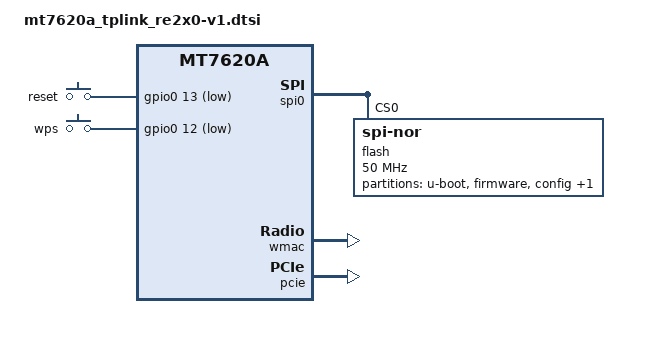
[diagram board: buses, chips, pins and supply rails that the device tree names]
// SPDX-License-Identifier: GPL-2.0-or-later OR MIT

#include "mt7620a.dtsi"

#include <dt-bindings/gpio/gpio.h>
#include <dt-bindings/input/input.h>
#include <dt-bindings/mtd/partitions/uimage.h>

/ {
	aliases {
		label-mac-device = &ethernet;
	};

	chosen {
		bootargs = "console=ttyS0,57600n8";
	};

	keys: keys {
		compatible = "gpio-keys";

		reset {
			label = "reset";
			gpios = <&gpio0 13 GPIO_ACTIVE_LOW>;
			linux,code = <KEY_RESTART>;
		};

		wps {
			label = "wps";
			gpios = <&gpio0 12 GPIO_ACTIVE_LOW>;
			linux,code = <KEY_WPS_BUTTON>;
		};
	};
};

&spi0 {
	status = "okay";

	flash@0 {
		compatible = "jedec,spi-nor";
		reg = <0>;
		spi-max-frequency = <50000000>;

		partitions {
			compatible = "fixed-partitions";
			#address-cells = <1>;
			#size-cells = <1>;

			partition@0 {
				label = "u-boot";
				reg = <0x0 0x20000>;
				read-only;

				nvmem-layout {
					compatible = "fixed-layout";
					#address-cells = <1>;
					#size-cells = <1>;

					macaddr_uboot_1fc00: macaddr@1fc00 {
						compatible = "mac-base";
						reg = <0x1fc00 0x6>;
						#nvmem-cell-cells = <1>;
					};
				};
			};

			partition@20000 {
				compatible = "openwrt,uimage", "denx,uimage";
				label = "firmware";
				reg = <0x20000 0x7c0000>;
				openwrt,offset = <0x1000>;
				openwrt,ih-magic = <IH_MAGIC_OKLI>;
			};

			partition@7e0000 {
				label = "config";
				reg = <0x7e0000 0x10000>;
				read-only;
			};

			partition@7f0000 {
				label = "radio";
				reg = <0x7f0000 0x10000>;
				read-only;

				nvmem-layout {
					compatible = "fixed-layout";
					#address-cells = <1>;
					#size-cells = <1>;

					eeprom_radio_0: eeprom@0 {
						reg = <0x0 0x200>;
					};

					eeprom_radio_8000: eeprom@8000 {
						reg = <0x8000 0x200>;
					};
				};
			};
		};
	};
};

&ethernet {
	nvmem-cells = <&macaddr_uboot_1fc00 0>;
	nvmem-cell-names = "mac-address";
};

&wmac {
	nvmem-cells = <&eeprom_radio_0>, <&macaddr_uboot_1fc00 0>;
	nvmem-cell-names = "eeprom", "mac-address";
};

&pcie {
	status = "okay";
};

&pcie0 {
	mt76@0,0 {
		reg = <0x0000 0 0 0 0>;
		ieee80211-freq-limit = <5000000 6000000>;
		nvmem-cells = <&eeprom_radio_8000>, <&macaddr_uboot_1fc00 2>;
		nvmem-cell-names = "eeprom", "mac-address";
	};
};
